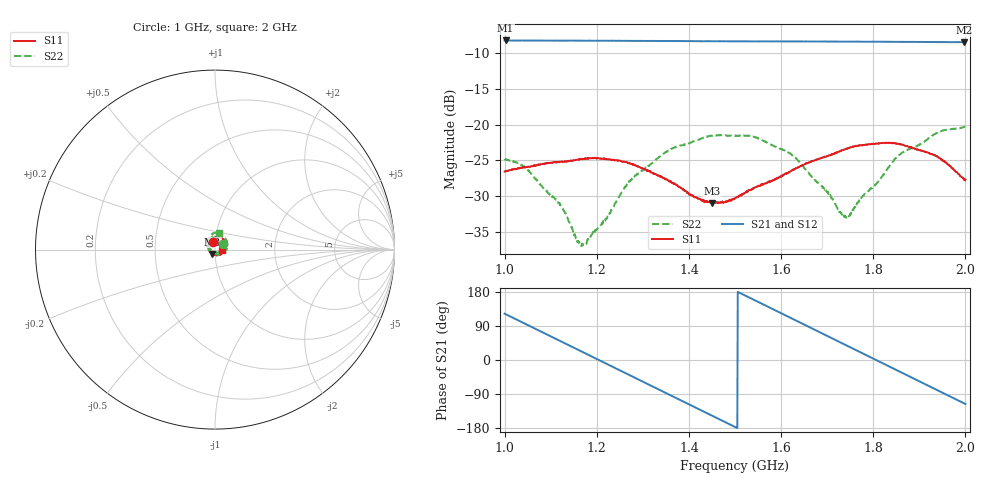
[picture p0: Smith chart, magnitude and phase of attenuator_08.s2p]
#  HZ  S  DB  R  50.00
! Rohde & Schwarz Vector Network Analyzer
! Rohde-Schwarz,ZNB8-4Port,1311601044102961,2.82
! Created: UTC 3/4/2022, 3:51:41 PM
! freq[Hz]  db:S11  ang:S11  db:S21  ang:S21  db:S12  ang:S12  db:S22  ang:S22
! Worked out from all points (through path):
!   1001 points, 1 GHz to 2 GHz, reference 50 ohm
!   highest |S21| = -8.26 dB at 1.002 GHz (marker M1); lowest = -8.5 dB at 1.997 GHz (marker M2)
!   group delay of S21, straight-line fit = 1.66 ns
!   lowest |S11| = -31.0 dB at 1.45 GHz (marker M3), VSWR 1.06, Z = 48.6 - j2.39 ohm
!   |S11| at or under -10 dB: start of sweep to end of sweep
!   |S22| runs from -37.0 to -20.3 dB; largest |S21 - S12| = 0.0014
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1e9  -26.57 106.9  -8.27 122.2  -8.25 122.2  -24.80 34.6
1.002e9  -26.47 106.0  -8.26 121.0  -8.26 121.0  -24.86 33.7
1.042e9  -25.94 92.9  -8.27 97.1  -8.27 97.1  -25.80 15.4
1.082e9  -25.48 81.2  -8.28 73.2  -8.28 73.3  -28.70 -7.8
1.122e9  -25.20 68.4  -8.28 49.3  -8.28 49.4  -31.42 -35.6
1.167e9  -24.80 52.1  -8.29 22.5  -8.29 22.4  -36.80 -94.5
1.217e9  -24.75 32.4  -8.30 -7.4  -8.31 -7.5  -33.49 -167.8
1.244e9  -25.00 20.7  -8.30 -23.7  -8.30 -23.6  -30.57 164.1
1.274e9  -25.49 6.3  -8.32 -41.6  -8.32 -41.6  -27.78 148.6
1.334e9  -27.13 -27.5  -8.34 -77.5  -8.34 -77.5  -24.64 120.6
1.39e9  -29.23 -65.5  -8.35 -111.0  -8.35 -110.9  -22.79 100.1
1.45e9  -30.97 -119.6  -8.37 -146.8  -8.37 -146.8  -21.54 75.3
1.5e9  -30.27 -162.6  -8.38 -176.7  -8.38 -176.7  -21.53 54.4
1.546e9  -28.73 167.6  -8.39 155.8  -8.38 155.9  -21.79 35.4
1.594e9  -27.47 145.8  -8.39 127.1  -8.39 127.1  -23.25 11.6
1.667e9  -25.07 119.2  -8.41 83.4  -8.40 83.5  -27.28 -31.0
1.743e9  -23.35 92.8  -8.42 37.9  -8.42 37.9  -32.82 -118.7
1.789e9  -22.75 76.6  -8.43 10.3  -8.43 10.3  -29.31 -175.1
1.834e9  -22.54 59.3  -8.46 -16.7  -8.45 -16.6  -25.92 146.4
1.921e9  -24.01 24.1  -8.48 -68.8  -8.47 -68.8  -21.86 107.2
1.997e9  -27.69 -4.2  -8.51 -114.3  -8.50 -114.3  -20.35 78.6
2e9  -27.67 -6.1  -8.50 -116.1  -8.50 -116.1  -20.26 77.0
